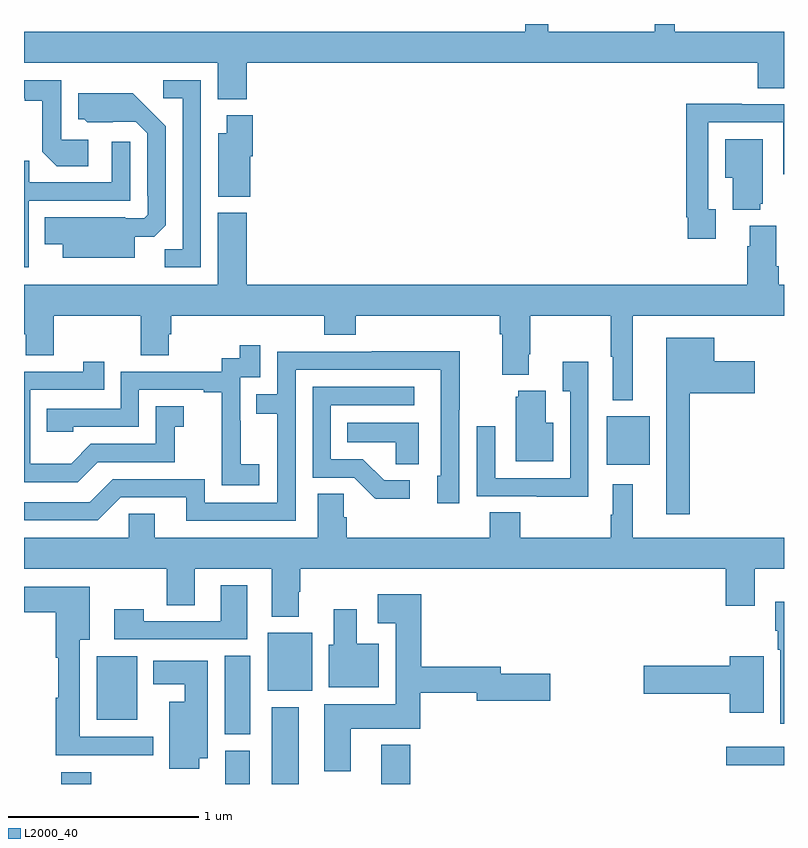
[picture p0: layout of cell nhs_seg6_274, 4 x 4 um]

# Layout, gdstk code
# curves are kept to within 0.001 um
import gdstk
lib = gdstk.Library(unit=1e-6, precision=1e-09)
def R(c, l, rs):  # rectangles x0, y0, x1, y1
    for r in rs: c.add(gdstk.rectangle(r[:2], r[2:], *l))
def P(c, l, *ps):  # polygons
    for p in ps: c.add(gdstk.Polygon(p, *l))
L2000_40 = (2000, 40)

nhs_seg6_274 = lib.new_cell('nhs_seg6_274')
R(nhs_seg6_274, L2000_40, [(125.195,983.5,125.355,983.563), (126.059,983.5,126.187,983.676), (126.305,983.5,126.445,983.905), (126.881,983.5,127.034,983.707), (128.697,983.6,129,983.697), (126.056,983.761,126.19,984.176), (125.384,983.837,125.596,984.172), (126.284,983.99,126.517,984.295), (128.066,985.181,128.293,985.435)])
P(nhs_seg6_274, L2000_40, [(126.173,987.296),(128.861,987.296),(128.861,987.163),(129,987.163),(129,987.46),(128.425,987.46),(128.425,987.5),(128.319,987.5),(128.319,987.46),(127.759,987.46),(127.759,987.5),(127.638,987.5),(127.638,987.46),(125,987.46),(125,987.296),(126.02,987.296),(126.02,987.104),(126.173,987.104)],
  [(125.338,986.892),(125.196,986.892),(125.196,987.204),(125,987.204),(125,987.108),(125.003,987.108),(125.003,987.096),(125.097,987.096),(125.097,986.828),(125.173,986.752),(125.338,986.752)],
  [(125.931,987.204),(125.733,987.204),(125.733,987.108),(125.835,987.108),(125.835,986.315),(125.74,986.315),(125.74,986.22),(125.931,986.22)],
  [(125.584,986.381),(125.686,986.381),(125.745,986.44),(125.745,986.962),(125.573,987.136),(125.285,987.136),(125.285,987),(125.316,987),(125.332,986.984),(125.589,986.985),(125.649,986.925),(125.649,986.596),(125.652,986.596),(125.652,986.496),(125.634,986.478),(125.534,986.478),(125.534,986.482),(125.11,986.482),(125.11,986.342),(125.204,986.342),(125.204,986.27),(125.584,986.27)],
  [(128.641,986.526),(128.601,986.526),(128.601,986.982),(128.997,986.982),(128.997,986.709),(129,986.709),(129,987.078),(128.777,987.078),(128.777,987.08),(128.485,987.08),(128.485,986.482),(128.493,986.482),(128.493,986.37),(128.641,986.37)],
  [(126.19,986.805),(126.203,986.805),(126.203,987.019),(126.068,987.019),(126.068,986.926),(126.023,986.926),(126.023,986.591),(126.19,986.591)],
  [(128.876,986.553),(128.887,986.553),(128.887,986.893),(128.69,986.893),(128.69,986.69),(128.729,986.69),(128.729,986.522),(128.876,986.522)],
  [(125.025,986.571),(125.559,986.571),(125.559,986.881),(125.463,986.881),(125.463,986.667),(125.027,986.667),(125.027,986.78),(125,986.78),(125,986.22),(125.025,986.22)],
  [(128.203,985.964),(129,985.964),(129,986.128),(128.972,986.128),(128.972,986.224),(128.959,986.224),(128.959,986.437),(128.819,986.437),(128.819,986.33),(128.807,986.33),(128.807,986.128),(126.173,986.128),(126.173,986.506),(126.02,986.506),(126.02,986.128),(125,986.128),(125,985.866),(125.009,985.866),(125.009,985.756),(125.157,985.756),(125.157,985.964),(125.614,985.964),(125.614,985.756),(125.761,985.756),(125.761,985.866),(125.774,985.866),(125.774,985.964),(126.581,985.964),(126.581,985.865),(126.746,985.865),(126.746,985.964),(127.505,985.964),(127.505,985.868),(127.517,985.868),(127.517,985.655),(127.657,985.655),(127.657,985.762),(127.665,985.762),(127.665,985.964),(128.089,985.964),(128.089,985.748),(128.099,985.748),(128.099,985.52),(128.203,985.52)],
  [(128.503,985.556),(128.845,985.556),(128.845,985.726),(128.632,985.726),(128.632,985.849),(128.381,985.849),(128.381,984.921),(128.503,984.921)],
  [(126.238,985.183),(126.14,985.183),(126.14,985.412),(126.138,985.412),(126.138,985.641),(126.243,985.641),(126.243,985.81),(126.135,985.81),(126.135,985.74),(126.042,985.74),(126.042,985.671),(125.508,985.671),(125.508,985.476),(125.119,985.476),(125.119,985.353),(125.259,985.353),(125.259,985.38),(125.604,985.38),(125.604,985.575),(125.945,985.575),(125.945,985.563),(126.041,985.563),(126.041,985.279),(126.04,985.279),(126.04,985.073),(126.238,985.073)],
  [(126.429,985.68),(127.194,985.68),(127.194,985.122),(127.175,985.122),(127.175,984.978),(127.29,984.978),(127.29,985.471),(127.293,985.471),(127.293,985.778),(126.829,985.778),(126.829,985.776),(126.333,985.776),(126.333,985.551),(126.223,985.551),(126.223,985.45),(126.333,985.45),(126.333,984.981),(125.952,984.981),(125.952,985.104),(125.466,985.104),(125.346,984.984),(125,984.984),(125,984.888),(125.388,984.888),(125.508,985.008),(125.855,985.008),(125.855,984.885),(126.429,984.885)],
  [(127.971,985.723),(127.835,985.723),(127.835,985.567),(127.875,985.567),(127.875,985.11),(127.479,985.11),(127.479,985.384),(127.383,985.384),(127.383,985.014),(127.699,985.014),(127.699,985.013),(127.971,985.013)],
  [(125.389,985.194),(125.793,985.194),(125.793,985.379),(125.842,985.379),(125.842,985.489),(125.694,985.489),(125.694,985.29),(125.352,985.29),(125.248,985.186),(125.034,985.186),(125.034,985.575),(125.423,985.575),(125.423,985.723),(125.312,985.723),(125.312,985.671),(125,985.671),(125,985.089),(125.284,985.089)],
  [(127.03,985.098),(126.895,985.098),(126.784,985.209),(126.615,985.209),(126.615,985.494),(127.054,985.494),(127.054,985.59),(126.519,985.59),(126.519,985.113),(126.738,985.113),(126.851,985.001),(127.03,985.001)],
  [(127.786,985.402),(127.747,985.402),(127.747,985.57),(127.601,985.57),(127.601,985.539),(127.589,985.539),(127.589,985.199),(127.786,985.199)],
  [(127.078,985.402),(126.7,985.402),(126.7,985.298),(126.957,985.298),(126.957,985.183),(127.078,985.183)],
  [(126.445,984.512),(126.453,984.512),(126.453,984.632),(128.693,984.632),(128.693,984.438),(128.845,984.438),(128.845,984.632),(129,984.632),(129,984.796),(128.203,984.796),(128.203,985.078),(128.099,985.078),(128.099,984.917),(128.089,984.917),(128.089,984.796),(127.611,984.796),(127.611,984.929),(127.451,984.929),(127.451,984.796),(126.698,984.796),(126.698,984.905),(126.684,984.905),(126.684,985.028),(126.545,985.028),(126.545,984.796),(125.689,984.796),(125.689,984.923),(125.55,984.923),(125.55,984.796),(125,984.796),(125,984.632),(125.752,984.632),(125.752,984.442),(125.899,984.442),(125.899,984.632),(126.305,984.632),(126.305,984.38),(126.445,984.38)],
  [(126.175,984.547),(126.035,984.547),(126.035,984.357),(125.631,984.357),(125.631,984.421),(125.475,984.421),(125.475,984.261),(126.175,984.261)],
  [(125.68,983.748),(125.293,983.748),(125.293,984.26),(125.347,984.26),(125.347,984.538),(125,984.538),(125,984.404),(125.168,984.404),(125.168,984.164),(125.18,984.164),(125.18,983.955),(125.168,983.955),(125.168,983.651),(125.68,983.651)],
  [(126.721,983.792),(127.086,983.792),(127.086,983.98),(127.382,983.98),(127.382,983.938),(127.771,983.938),(127.771,984.08),(127.51,984.08),(127.51,984.116),(127.091,984.116),(127.091,984.499),(126.861,984.499),(126.861,984.347),(126.956,984.347),(126.956,983.92),(126.581,983.92),(126.581,983.568),(126.721,983.568)],
  [(129,984.46),(128.954,984.46),(128.954,984.306),(128.966,984.306),(128.966,984.206),(128.981,984.206),(128.981,983.817),(129,983.817)],
  [(126.868,984.238),(126.751,984.238),(126.751,984.421),(126.629,984.421),(126.629,984.234),(126.605,984.234),(126.605,984.008),(126.868,984.008)],
  [(128.893,984.172),(128.714,984.172),(128.714,984.122),(128.262,984.122),(128.262,983.975),(128.714,983.975),(128.714,983.876),(128.893,983.876)],
  [(125.923,983.636),(125.968,983.636),(125.968,984.148),(125.681,984.148),(125.681,984.026),(125.846,984.026),(125.846,983.932),(125.765,983.932),(125.765,983.58),(125.923,983.58)])

lib.write_gds('nhs_seg6_274.gds')
